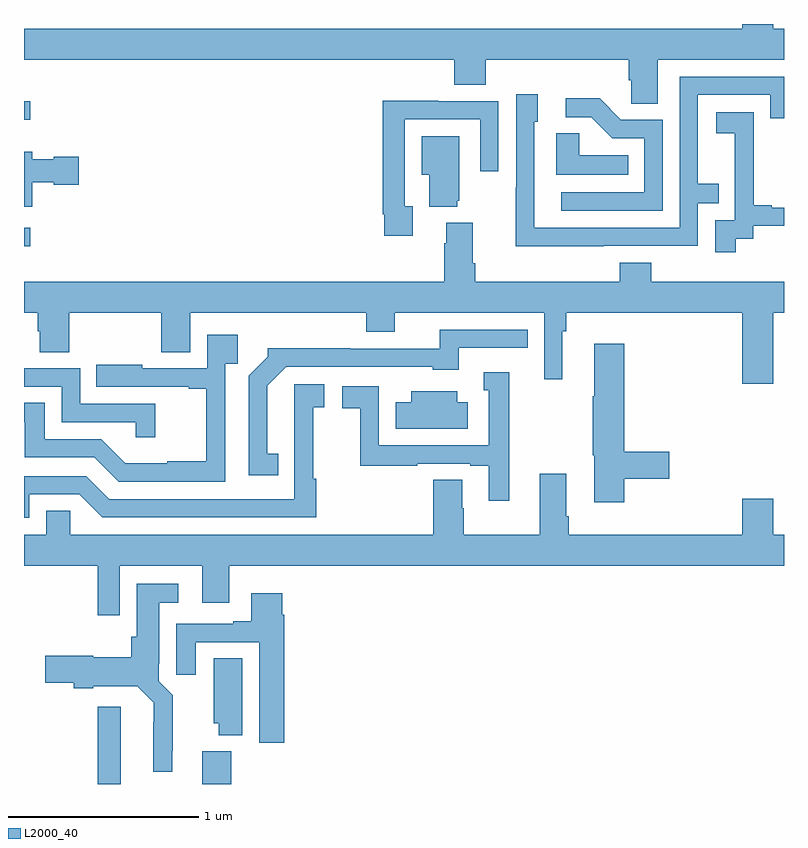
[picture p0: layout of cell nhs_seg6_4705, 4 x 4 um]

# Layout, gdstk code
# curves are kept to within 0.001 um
import gdstk
lib = gdstk.Library(unit=1e-6, precision=1e-09)
def R(c, l, rs):  # rectangles x0, y0, x1, y1
    for r in rs: c.add(gdstk.rectangle(r[:2], r[2:], *l))
def P(c, l, *ps):  # polygons
    for p in ps: c.add(gdstk.Polygon(p, *l))
L2000_40 = (2000, 40)

nhs_seg6_4705 = lib.new_cell('nhs_seg6_4705')
R(nhs_seg6_4705, L2000_40, [(389.387,967.5,389.509,967.906), (389.939,967.5,390.092,967.672), (389,970.331,389.032,970.428), (389,970.997,389.032,971.094)])
P(nhs_seg6_4705, L2000_40, [(392.335,971.312),(393,971.312),(393,971.476),(392.944,971.476),(392.944,971.5),(392.78,971.5),(392.78,971.476),(389,971.476),(389,971.312),(391.265,971.312),(391.265,971.179),(391.43,971.179),(391.43,971.312),(392.183,971.312),(392.183,971.203),(392.196,971.203),(392.196,971.08),(392.335,971.08)],
  [(392.051,970.332),(392.547,970.332),(392.547,970.557),(392.657,970.557),(392.657,970.658),(392.547,970.658),(392.547,971.127),(392.928,971.127),(392.928,971.004),(393,971.004),(393,971.223),(392.451,971.223),(392.451,970.428),(391.686,970.428),(391.686,970.986),(391.705,970.986),(391.705,971.131),(391.59,971.131),(391.59,970.637),(391.588,970.637),(391.588,970.331),(392.051,970.331)],
  [(392.361,970.995),(392.142,970.995),(392.029,971.108),(391.851,971.108),(391.851,971.01),(391.985,971.01),(392.096,970.899),(392.265,970.899),(392.265,970.614),(391.827,970.614),(391.827,970.518),(392.361,970.518)],
  [(391.045,970.542),(391.005,970.542),(391.005,970.998),(391.401,970.998),(391.401,970.725),(391.497,970.725),(391.497,971.094),(391.181,971.094),(391.181,971.096),(390.889,971.096),(390.889,970.498),(390.897,970.498),(390.897,970.386),(391.045,970.386)],
  [(392.746,970.369),(392.838,970.369),(392.838,970.437),(393,970.437),(393,970.533),(392.935,970.533),(392.935,970.546),(392.84,970.546),(392.84,970.829),(392.841,970.829),(392.841,971.035),(392.643,971.035),(392.643,970.925),(392.741,970.925),(392.741,970.697),(392.742,970.697),(392.742,970.467),(392.637,970.467),(392.637,970.299),(392.746,970.299)],
  [(392.18,970.81),(391.923,970.81),(391.923,970.925),(391.802,970.925),(391.802,970.706),(392.18,970.706)],
  [(391.28,970.569),(391.291,970.569),(391.291,970.909),(391.094,970.909),(391.094,970.706),(391.133,970.706),(391.133,970.538),(391.28,970.538)],
  [(389.044,970.667),(389.157,970.667),(389.157,970.655),(389.287,970.655),(389.287,970.802),(389.157,970.802),(389.157,970.789),(389.044,970.789),(389.044,970.828),(389,970.828),(389,970.538),(389.044,970.538)],
  [(392.944,969.98),(393,969.98),(393,970.144),(392.3,970.144),(392.3,970.243),(392.135,970.243),(392.135,970.144),(391.376,970.144),(391.376,970.24),(391.363,970.24),(391.363,970.453),(391.223,970.453),(391.223,970.346),(391.211,970.346),(391.211,970.144),(389,970.144),(389,969.98),(389.072,969.98),(389.072,969.882),(389.084,969.882),(389.084,969.772),(389.237,969.772),(389.237,969.98),(389.723,969.98),(389.723,969.772),(389.875,969.772),(389.875,969.98),(390.8,969.98),(390.8,969.881),(390.952,969.881),(390.952,969.98),(391.737,969.98),(391.737,969.63),(391.834,969.63),(391.834,969.884),(391.853,969.884),(391.853,969.98),(392.78,969.98),(392.78,969.606),(392.944,969.606)],
  [(390.338,969.239),(390.28,969.239),(390.28,969.595),(390.381,969.696),(391.152,969.696),(391.152,969.68),(391.288,969.68),(391.288,969.795),(391.652,969.795),(391.652,969.891),(391.189,969.891),(391.189,969.792),(390.716,969.792),(390.716,969.794),(390.282,969.794),(390.282,969.749),(390.183,969.65),(390.183,969.126),(390.338,969.126)],
  [(390.06,969.713),(390.125,969.713),(390.125,969.865),(389.964,969.865),(389.964,969.687),(389.623,969.687),(389.623,969.706),(389.38,969.706),(389.38,969.591),(389.867,969.591),(389.867,969.579),(389.959,969.579),(389.959,969.199),(389.753,969.199),(389.753,969.187),(389.534,969.187),(389.406,969.315),(389.11,969.315),(389.11,969.506),(389,969.506),(389,969.403),(389.003,969.403),(389.003,969.219),(389.37,969.219),(389.499,969.09),(390.06,969.09)],
  [(392.159,969.106),(392.395,969.106),(392.395,969.248),(392.159,969.248),(392.159,969.817),(392,969.817),(392,969.542),(391.993,969.542),(391.993,969.231),(392,969.231),(392,968.982),(392.159,968.982)],
  [(389.69,969.501),(389.295,969.501),(389.295,969.687),(389,969.687),(389,969.591),(389.199,969.591),(389.199,969.405),(389.589,969.405),(389.589,969.324),(389.69,969.324)],
  [(391.555,969.667),(391.421,969.667),(391.421,969.573),(391.446,969.573),(391.446,969.282),(390.867,969.282),(390.867,969.594),(390.675,969.594),(390.675,969.478),(390.769,969.478),(390.769,969.174),(391.07,969.174),(391.07,969.186),(391.349,969.186),(391.349,969.174),(391.445,969.174),(391.445,968.991),(391.555,968.991)],
  [(389.028,969.024),(389.292,969.024),(389.412,968.904),(390.539,968.904),(390.539,969.107),(390.522,969.107),(390.522,969.483),(390.58,969.483),(390.58,969.604),(390.422,969.604),(390.423,969),(389.448,969),(389.328,969.12),(389,969.12),(389,968.901),(389.028,968.901)],
  [(391.336,969.508),(391.279,969.508),(391.279,969.568),(391.037,969.568),(391.037,969.508),(390.956,969.508),(390.956,969.371),(391.336,969.371)],
  [(389.505,968.648),(389.939,968.648),(389.939,968.454),(390.079,968.454),(390.079,968.648),(393,968.648),(393,968.812),(392.944,968.812),(392.944,969.001),(392.78,969.001),(392.78,968.812),(391.868,968.812),(391.868,968.908),(391.855,968.908),(391.855,969.133),(391.715,969.133),(391.715,968.812),(391.314,968.812),(391.314,968.951),(391.306,968.951),(391.306,969.101),(391.154,969.101),(391.154,968.812),(389.244,968.812),(389.244,968.939),(389.117,968.939),(389.117,968.812),(389,968.812),(389,968.648),(389.389,968.648),(389.389,968.388),(389.505,968.388)],
  [(389.779,967.675),(389.783,967.675),(389.783,967.966),(389.709,968.04),(389.709,968.134),(389.713,968.134),(389.713,968.453),(389.812,968.453),(389.812,968.554),(389.594,968.554),(389.594,968.274),(389.564,968.274),(389.564,968.167),(389.365,968.167),(389.365,968.175),(389.112,968.175),(389.112,968.033),(389.261,968.033),(389.261,968.003),(389.365,968.003),(389.365,968.015),(389.595,968.015),(389.682,967.928),(389.681,967.565),(389.779,967.565)],
  [(390.371,968.39),(390.358,968.39),(390.358,968.503),(390.197,968.503),(390.197,968.356),(390.101,968.356),(390.101,968.343),(389.801,968.343),(389.801,968.076),(389.905,968.076),(389.905,968.247),(390.239,968.247),(390.239,967.716),(390.371,967.716)],
  [(390.148,968.162),(389.999,968.162),(389.999,967.821),(390.026,967.821),(390.026,967.757),(390.148,967.757)])

lib.write_gds('nhs_seg6_4705.gds')
